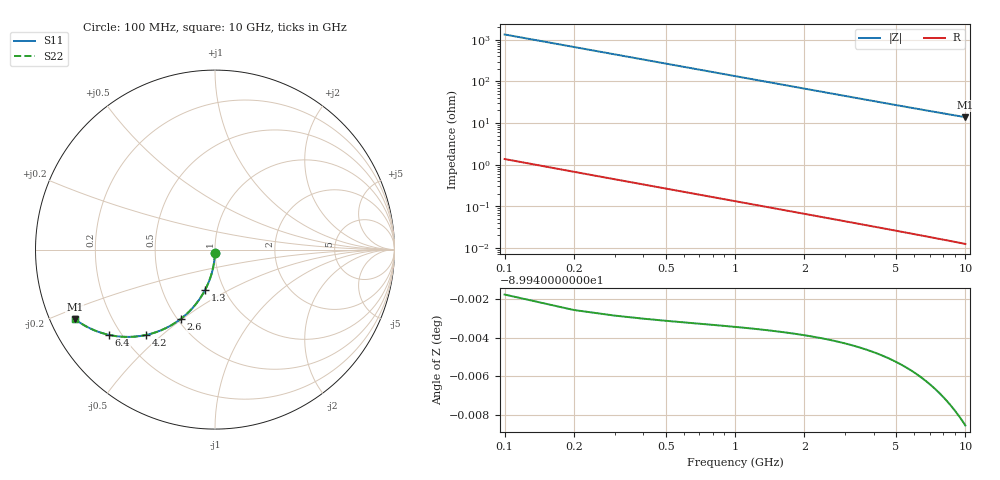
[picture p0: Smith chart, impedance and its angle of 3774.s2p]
# Hz S RI R 50.00
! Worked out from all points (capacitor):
!   100 points, 100 MHz to 10 GHz, reference 50 ohm
!   read as one part in shunt: C = 1.19 pF near 100 MHz
!   lowest |Z| = 13.8 ohm at 10 GHz (marker M1)
!   S11 on the Smith chart (normalised r, x): 100 MHz: 1.00, -0.04; 1.3 GHz: 0.81, -0.39; 2.6 GHz: 0.52, -0.49; 4.2 GHz: 0.29, -0.44; 6.4 GHz: 0.15, -0.34; 10 GHz: 0.07, -0.23
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1e8  -0.000324 -0.0184  0.9996 -0.0189  0.9996 -0.0189  -0.000324 -0.0184
2e8  -0.00138 -0.0367  0.9985 -0.0377  0.9985 -0.0377  -0.00138 -0.0367
3e8  -0.00313 -0.055  0.9968 -0.0565  0.9968 -0.0565  -0.00313 -0.055
4e8  -0.00556 -0.0732  0.9944 -0.0751  0.9944 -0.0751  -0.00556 -0.0732
5e8  -0.00866 -0.0912  0.9912 -0.0936  0.9912 -0.0936  -0.00866 -0.0912
6e8  -0.0124 -0.109  0.9875 -0.1119  0.9875 -0.1119  -0.0124 -0.109
7e8  -0.0168 -0.1266  0.9831 -0.13  0.9831 -0.13  -0.0168 -0.1266
8e8  -0.0219 -0.144  0.978 -0.1478  0.978 -0.1478  -0.0219 -0.144
1e9  -0.0337 -0.1778  0.9662 -0.1826  0.9662 -0.1826  -0.0337 -0.1778
1.3e9  -0.0557 -0.2258  0.9442 -0.2321  0.9442 -0.2321  -0.0557 -0.2258
1.5e9  -0.0728 -0.2558  0.9271 -0.2631  0.9271 -0.2631  -0.0728 -0.2558
1.8e9  -0.1016 -0.2973  0.8983 -0.3061  0.8983 -0.3061  -0.1016 -0.2973
2.2e9  -0.1446 -0.3459  0.8553 -0.3566  0.8553 -0.3566  -0.1446 -0.3459
2.6e9  -0.1911 -0.3864  0.8087 -0.3991  0.8087 -0.3991  -0.1911 -0.3864
3.4e9  -0.288 -0.444  0.7117 -0.4608  0.7117 -0.4608  -0.288 -0.444
4.2e9  -0.3822 -0.4751  0.6175 -0.4958  0.6175 -0.4958  -0.3822 -0.4751
5.1e9  -0.4776 -0.4863  0.5219 -0.5117  0.5219 -0.5117  -0.4776 -0.4863
6.4e9  -0.5912 -0.475  0.4082 -0.5071  0.4082 -0.5071  -0.5912 -0.475
6.7e9  -0.6134 -0.4695  0.386 -0.5033  0.386 -0.5033  -0.6134 -0.4695
7.5e9  -0.6659 -0.452  0.3332 -0.49  0.3332 -0.49  -0.6659 -0.452
8.4e9  -0.715 -0.4292  0.2839 -0.472  0.2839 -0.472  -0.715 -0.4292
1e10  -0.7817 -0.3863  0.2169 -0.4379  0.2169 -0.4379  -0.7817 -0.3863
